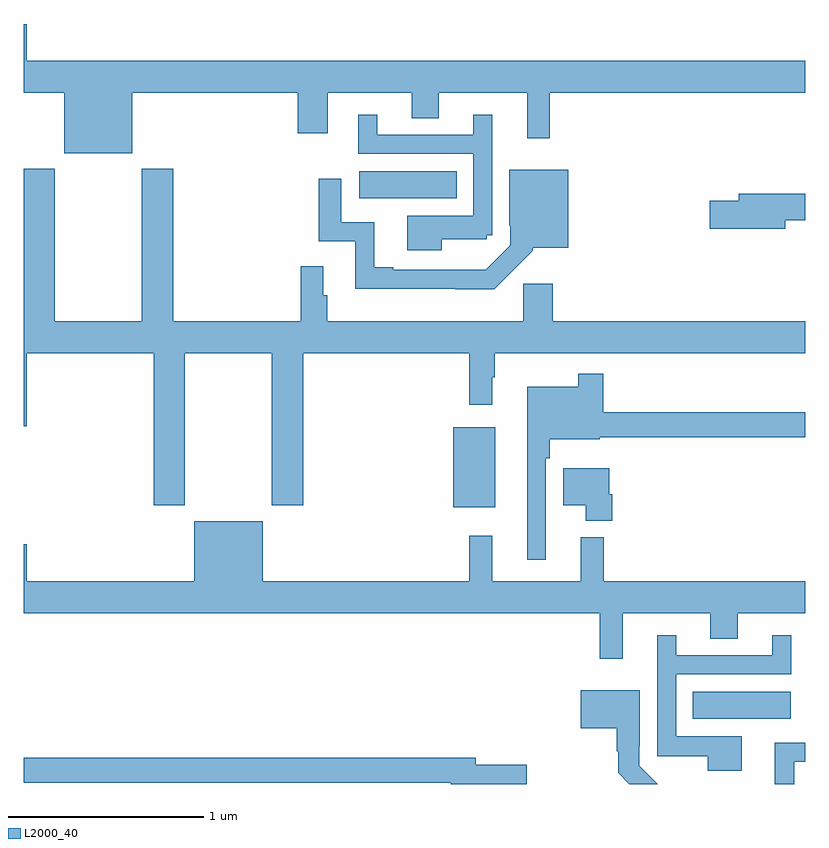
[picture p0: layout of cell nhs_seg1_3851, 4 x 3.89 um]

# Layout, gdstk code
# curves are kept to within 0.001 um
import gdstk
lib = gdstk.Library(unit=1e-6, precision=1e-09)
def R(c, l, rs):  # rectangles x0, y0, x1, y1
    for r in rs: c.add(gdstk.rectangle(r[:2], r[2:], *l))
def P(c, l, *ps):  # polygons
    for p in ps: c.add(gdstk.Polygon(p, *l))
L2000_40 = (2000, 40)

nhs_seg1_3851 = lib.new_cell('nhs_seg1_3851')
R(nhs_seg1_3851, L2000_40, [(324.424,544.532,324.925,544.672), (323.198,545.615,323.413,546.025), (322.716,547.196,323.216,547.336)])
P(nhs_seg1_3851, L2000_40, [(321.556,547.736),(322.403,547.736),(322.403,547.53),(322.555,547.53),(322.555,547.736),(322.985,547.736),(322.985,547.606),(323.125,547.606),(323.125,547.736),(323.576,547.736),(323.576,547.503),(323.693,547.503),(323.693,547.736),(325,547.736),(325,547.9),(321.016,547.9),(321.016,548.089),(321,548.089),(321,547.736),(321.206,547.736),(321.206,547.427),(321.556,547.427)],
  [(323.14,546.986),(323.37,546.986),(323.37,547.008),(323.397,547.008),(323.397,547.624),(323.3,547.624),(323.3,547.521),(322.81,547.521),(322.81,547.624),(322.712,547.624),(322.712,547.425),(323.301,547.425),(323.301,547.108),(322.964,547.108),(322.964,546.932),(323.14,546.932)],
  [(321.825,546.404),(322.27,546.404),(322.27,545.625),(322.43,545.625),(322.43,546.404),(323.281,546.404),(323.281,546.141),(323.398,546.141),(323.398,546.281),(323.41,546.281),(323.41,546.404),(325,546.404),(325,546.568),(323.708,546.568),(323.708,546.759),(323.557,546.759),(323.557,546.568),(322.553,546.568),(322.553,546.701),(322.534,546.701),(322.534,546.85),(322.417,546.85),(322.417,546.568),(321.764,546.568),(321.764,547.348),(321.604,547.348),(321.604,546.568),(321.159,546.568),(321.159,547.348),(321,547.348),(321,546.03),(321.016,546.03),(321.016,546.404),(321.665,546.404),(321.665,545.625),(321.825,545.625)],
  [(323.606,546.929),(323.606,546.944),(323.788,546.944),(323.788,547.342),(323.486,547.342),(323.486,547.057),(323.49,547.057),(323.49,546.957),(323.365,546.832),(322.891,546.831),(322.891,546.844),(322.795,546.844),(322.795,547.074),(322.626,547.074),(322.626,547.297),(322.51,547.297),(322.51,546.978),(322.697,546.978),(322.697,546.734),(323.209,546.734),(323.209,546.732),(323.408,546.732)],
  [(324.898,547.084),(325,547.084),(325,547.22),(324.659,547.22),(324.659,547.184),(324.51,547.184),(324.51,547.042),(324.898,547.042)],
  [(323.673,545.867),(323.693,545.867),(323.693,545.963),(323.947,545.963),(323.947,545.974),(325,545.974),(325,546.103),(323.966,546.103),(323.966,546.298),(323.838,546.298),(323.838,546.232),(323.576,546.232),(323.576,545.346),(323.673,545.346)],
  [(324.011,545.682),(323.998,545.682),(323.998,545.815),(323.762,545.815),(323.762,545.627),(323.876,545.627),(323.876,545.546),(324.011,545.546)],
  [(324.065,545.072),(324.515,545.072),(324.515,544.942),(324.655,544.942),(324.655,545.072),(325,545.072),(325,545.236),(323.969,545.236),(323.969,545.461),(323.852,545.461),(323.852,545.236),(323.399,545.236),(323.399,545.47),(323.281,545.47),(323.281,545.236),(322.222,545.236),(322.222,545.545),(321.872,545.545),(321.872,545.236),(321.016,545.236),(321.016,545.425),(321,545.425),(321,545.072),(323.947,545.072),(323.947,544.839),(324.065,544.839)],
  [(324.676,544.444),(324.339,544.444),(324.339,544.761),(324.928,544.761),(324.928,544.96),(324.83,544.96),(324.83,544.857),(324.34,544.857),(324.34,544.96),(324.243,544.96),(324.243,544.34),(324.5,544.34),(324.5,544.268),(324.676,544.268)],
  [(324.15,544.293),(324.15,544.393),(324.153,544.393),(324.153,544.678),(323.852,544.678),(323.852,544.484),(324.035,544.484),(324.035,544.367),(324.042,544.367),(324.042,544.257),(324.1,544.199),(324.245,544.199)],
  [(324.943,544.314),(325,544.314),(325,544.41),(324.845,544.41),(324.845,544.199),(324.943,544.199)],
  [(323.575,544.298),(323.314,544.298),(323.314,544.334),(321,544.334),(321,544.206),(323.186,544.206),(323.186,544.199),(323.575,544.199)])

lib.write_gds('nhs_seg1_3851.gds')
